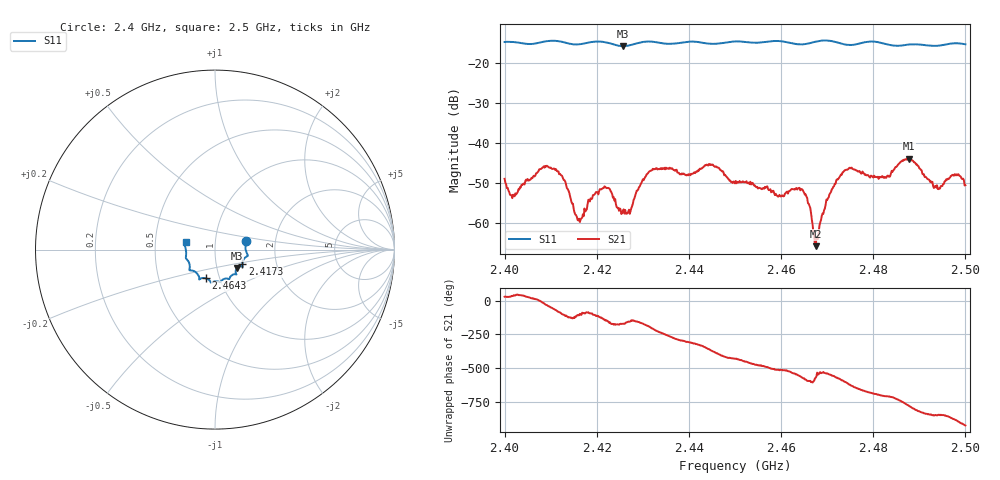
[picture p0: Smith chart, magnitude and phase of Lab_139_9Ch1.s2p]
# Hz S RI R 50
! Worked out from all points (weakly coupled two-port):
!   601 points, 2.4 GHz to 2.5 GHz, reference 50 ohm
!   highest |S21| = -43.97 dB at 2.4877 GHz (marker M1); lowest = -65.8 dB at 2.4675 GHz (marker M2)
!   lowest |S11| = -15.9 dB at 2.4257 GHz (marker M3), VSWR 1.38, Z = 62.4 - j13.1 ohm
!   |S11| at or under -10 dB: start of sweep to end of sweep
!   S12 and S22 are empty: the file has one direction only
!   S11 on the Smith chart (normalised r, x): 2.4 GHz: 1.41, +0.14; 2.4173 GHz: 1.34, -0.23; 2.4643 GHz: 0.86, -0.28; 2.5 GHz: 0.72, +0.06
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2.4e9  0.1733 0.0497  0.00312 0.00169  0 0  0 0
2.402e9  0.1751 0.0415  0.00168 0.00142  0 0  0 0
2.408e9  0.1781 -0.0209  0.00469 -0.000692  0 0  0 0
2.411167e9  0.1828 -0.0344  0.00155 -0.0044  0 0  0 0
2.416667e9  0.1529 -0.0748  -0.0003 -0.0011  0 0  0 0
2.417333e9  0.1523 -0.0822  -0.000145 -0.0015  0 0  0 0
2.422e9  0.1515 -0.0943  -0.00223 -0.0016  0 0  0 0
2.425667e9  0.1226 -0.1024  -0.00138 -0.000215  0 0  0 0
2.433333e9  0.1128 -0.1367  -0.00307 0.00351  0 0  0 0
2.444833e9  0.0565 -0.1615  0.0052 -0.00083  0 0  0 0
2.45e9  0.0296 -0.1808  0.00114 -0.00289  0 0  0 0
2.4595e9  -0.0226 -0.1839  -0.0019 -0.00102  0 0  0 0
2.464333e9  -0.0503 -0.1604  -0.00242 0.00107  0 0  0 0
2.466667e9  -0.0763 -0.1597  -0.000559 0.000956  0 0  0 0
2.4675e9  -0.0823 -0.1622  -0.000447 0.000249  0 0  0 0
2.470333e9  -0.087 -0.1658  -0.00207 0.000125  0 0  0 0
2.473833e9  -0.0965 -0.1378  -0.00221 0.00395  0 0  0 0
2.483333e9  -0.1407 -0.0895  0.00373 0.000715  0 0  0 0
2.487667e9  -0.1589 -0.0526  0.00363 -0.00519  0 0  0 0
2.493667e9  -0.1613 -0.00566  -0.00164 -0.00222  0 0  0 0
2.4975e9  -0.1712 0.0291  -0.00351 -0.00163  0 0  0 0
2.5e9  -0.1637 0.0421  -0.00272 0.00112  0 0  0 0
